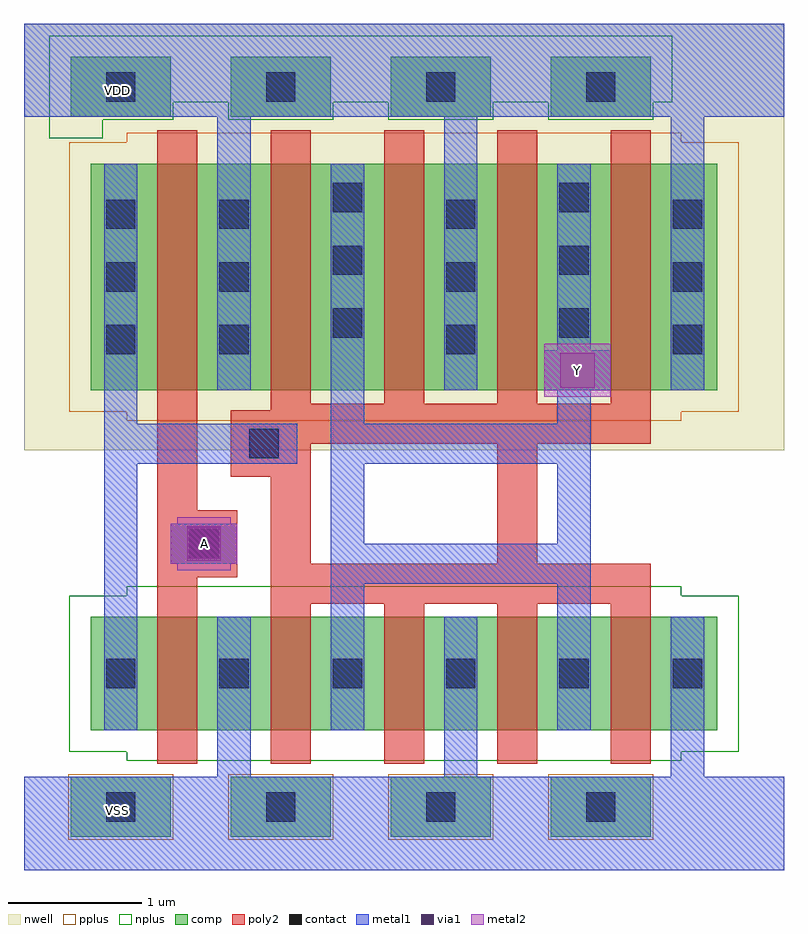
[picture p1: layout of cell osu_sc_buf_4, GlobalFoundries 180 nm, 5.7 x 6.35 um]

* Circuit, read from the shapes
.subckt osu_sc_buf_4 A VDD VSS Y
XM1 VSS A n1 VSS nfet_03v3 w=0.85u l=0.3u
XM2 Y n1 VSS VSS nfet_03v3 w=0.85u l=0.3u m=4
XM3 VDD A n1 VDD pfet_03v3 w=1.7u l=0.3u
XM4 Y n1 VDD VDD pfet_03v3 w=1.7u l=0.3u m=4
.ends

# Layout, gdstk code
import gdstk
lib = gdstk.Library(unit=1e-6, precision=1e-09)
def R(c, l, rs):  # rectangles x0, y0, x1, y1
    for r in rs: c.add(gdstk.rectangle(r[:2], r[2:], *l))
def A(c, l, x, y, w, h, nx, ny, dx, dy):  # array of equal rectangles
    R(c, l, [(x+i*dx, y+j*dy, x+i*dx+w, y+j*dy+h) for i in range(nx) for j in range(ny)])
nwell = (21, 0)
comp = (22, 0)
poly2 = (30, 0)
pplus = (31, 0)
nplus = (32, 0)
contact = (33, 0)
metal1 = (34, 0)
via1 = (35, 0)
metal2 = (36, 0)

osu_sc_buf_4 = lib.new_cell('osu_sc_buf_4')
R(osu_sc_buf_4, nwell, [(0,3.1,5.7,6.3)])
A(osu_sc_buf_4, comp, 0.35, 0.2, 0.75, 0.45, 4, 2, 1.2, 5.4)
R(osu_sc_buf_4, comp, [(0.5,1,5.2,1.85), (0.5,3.55,5.2,5.25)])
A(osu_sc_buf_4, poly2, 1.85, 0.75, 0.3, 1.2, 4, 1, 0.85, 0)
A(osu_sc_buf_4, poly2, 1.85, 3.45, 0.3, 2.05, 4, 1, 0.85, 0)
R(osu_sc_buf_4, poly2, [(1,0.75,1.3,2.15), (1.85,1.95,4.7,2.25), (1,2.15,1.6,2.65), (1.85,2.25,2.15,2.9), (3.55,2.25,3.85,3.15), (1,2.65,1.3,5.5), (1.55,2.9,2.15,3.15), (1.55,3.15,4.7,3.4), (1.85,3.4,4.7,3.45)])
A(osu_sc_buf_4, pplus, 0.33, 0.18, 0.79, 0.49, 4, 1, 1.2, 0)
R(osu_sc_buf_4, pplus, [(0.77,3.32,4.93,3.39), (0.34,3.39,5.36,5.41), (0.77,5.41,4.93,5.48)])
A(osu_sc_buf_4, nplus, 1.53, 5.58, 0.79, 0.13, 3, 1, 1.2, 0)
R(osu_sc_buf_4, nplus, [(0.77,0.77,4.93,0.84), (0.34,0.84,5.36,2.01), (0.77,2.01,4.93,2.08), (0.19,5.44,0.59,5.58), (0.19,5.58,1.12,5.71), (0.19,5.71,4.86,6.21)])
A(osu_sc_buf_4, contact, 0.615, 0.315, 0.22, 0.22, 4, 2, 1.2, 5.4)
A(osu_sc_buf_4, contact, 0.615, 1.315, 0.22, 0.22, 6, 1, 0.85, 0)
A(osu_sc_buf_4, contact, 0.615, 3.82, 0.22, 0.22, 1, 3, 0, 0.47)
A(osu_sc_buf_4, contact, 1.465, 3.82, 0.22, 0.22, 3, 3, 1.7, 0.47)
A(osu_sc_buf_4, contact, 2.315, 3.945, 0.22, 0.22, 1, 3, 0, 0.47)
A(osu_sc_buf_4, contact, 4.015, 3.945, 0.22, 0.22, 1, 3, 0, 0.47)
R(osu_sc_buf_4, contact, [(1.24,2.29,1.46,2.51), (1.69,3.04,1.91,3.26)])
A(osu_sc_buf_4, metal1, 1.45, 0.65, 0.25, 1.2, 3, 1, 1.7, 0)
A(osu_sc_buf_4, metal1, 1.45, 3.55, 0.25, 2.05, 3, 1, 1.7, 0)
R(osu_sc_buf_4, metal1, [(0,-0.05,5.7,0.65), (0.6,1,0.85,3), (2.3,1,2.55,2.1), (4,1,4.25,2.1), (2.3,2.1,4.25,2.4), (1.1,2.25,1.6,2.55), (2.3,2.4,2.55,3), (4,2.4,4.25,3), (0.6,3,2.05,3.3), (2.3,3,4.25,3.3), (0.6,3.3,0.85,5.25), (2.3,3.3,2.55,5.25), (4,3.3,4.25,3.55), (3.9,3.55,4.4,3.85), (4,3.85,4.25,5.25), (0,5.6,5.7,6.3)])
R(osu_sc_buf_4, via1, [(1.22,2.27,1.48,2.53), (4.02,3.57,4.28,3.83)])
R(osu_sc_buf_4, metal2, [(1.15,2.2,1.55,2.25), (1.1,2.25,1.6,2.55), (1.15,2.55,1.55,2.6), (3.9,3.5,4.4,3.9)])
osu_sc_buf_4.add(gdstk.Label('VDD', (0.7,5.8), layer=34, texttype=10))
osu_sc_buf_4.add(gdstk.Label('VSS', (0.7,0.4), layer=34, texttype=10))
osu_sc_buf_4.add(gdstk.Label('A', (1.35,2.4), layer=36, texttype=10))
osu_sc_buf_4.add(gdstk.Label('Y', (4.15,3.7), layer=36, texttype=10))

lib.write_gds('osu_sc_buf_4.gds')
